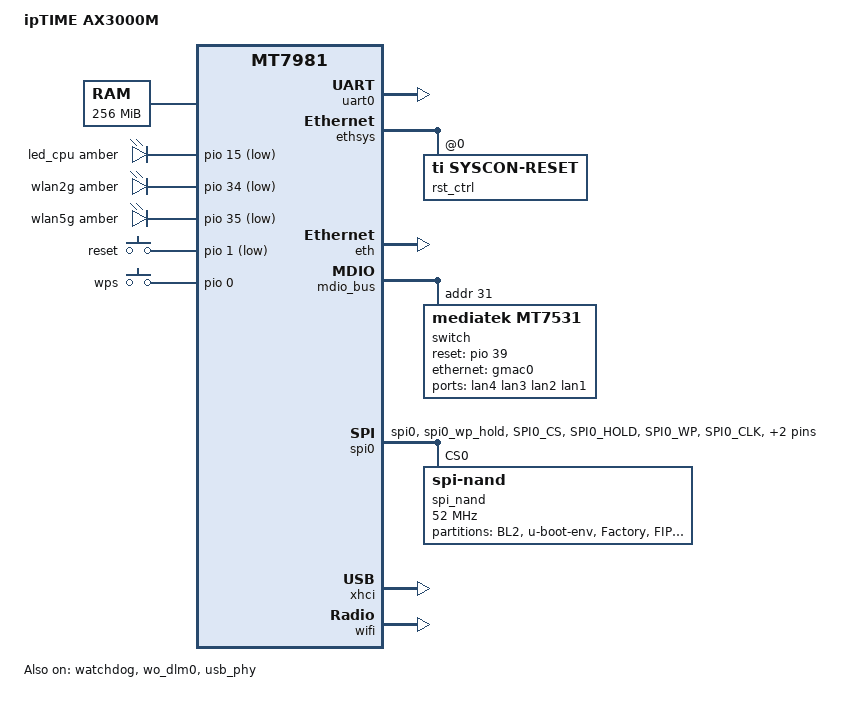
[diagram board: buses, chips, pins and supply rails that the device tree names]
// SPDX-License-Identifier: (GPL-2.0 OR MIT)

/dts-v1/;
#include <dt-bindings/gpio/gpio.h>
#include <dt-bindings/input/input.h>
#include "mt7981.dtsi"

/ {
	model = "ipTIME AX3000M";
	compatible = "iptime,ax3000m", "mediatek,mt7981-spim-snand-rfb";

	aliases {
		label-mac-device = &gmac0;
		led-boot = &led_cpu;
		led-failsafe = &led_cpu;
		led-running = &led_cpu;
		led-upgrade = &led_cpu;
		serial0 = &uart0;
	};

	chosen {
		stdout-path = "serial0:115200n8";
		bootargs-append = " ubi.mtd=ubi rootfstype=squashfs";
		bootargs-replace = "boot_from=B|ubi.block=0,rootfs2 root=/dev/ubiblock0_4";
	};

	memory {
		reg = <0x0 0x40000000 0x0 0x10000000>;
	};

	leds {
		compatible = "gpio-leds";

		led_cpu: cpu {
			function = LED_FUNCTION_CPU;
			color = <LED_COLOR_ID_AMBER>;
			gpios = <&pio 15 GPIO_ACTIVE_LOW>;
		};

		wlan2g {
			function = "LED_FUNCTION_WLAN_2GHZ";
			color = <LED_COLOR_ID_AMBER>;
			gpios = <&pio 34 GPIO_ACTIVE_LOW>;
			linux,default-trigger = "phy0tpt";
		};

		wlan5g {
			function = "LED_FUNCTION_WLAN_5GHZ";
			color = <LED_COLOR_ID_AMBER>;
			gpios = <&pio 35 GPIO_ACTIVE_LOW>;
			linux,default-trigger = "phy1tpt";
		};
	};

	keys {
		compatible = "gpio-keys";

		reset {
			label = "reset";
			gpios = <&pio 1 GPIO_ACTIVE_LOW>;
			linux,code = <KEY_RESTART>;
		};

		wps {
			label = "wps";
			gpios = <&pio 0 GPIO_ACTIVE_HIGH>;
			linux,code = <KEY_WPS_BUTTON>;
		};
	};
};

&pio {
	nand_pins: spi0-pins {
		mux {
			function = "spi";
			groups = "spi0", "spi0_wp_hold";
		};
		conf-pu {
			pins = "SPI0_CS", "SPI0_HOLD", "SPI0_WP";
			drive-strength = <MTK_DRIVE_8mA>;
			bias-pull-up = <MTK_PUPD_SET_R1R0_11>;
		};
		conf-pd {
			pins = "SPI0_CLK", "SPI0_MOSI", "SPI0_MISO";
			drive-strength = <MTK_DRIVE_8mA>;
			bias-pull-down = <MTK_PUPD_SET_R1R0_11>;
		};
	};
};

&uart0 {
	status = "okay";
};

&watchdog {
	status = "okay";
};

&ethsys {
	status = "okay";

	rst_ctrl: reset_controller@0 {
		compatible = "ti,syscon-reset";
		#reset-cells = <1>;
		ti,reset-bits = <0x34 0x04 0x34 0x04 0x34 0x04 0x28>;
	};
};

&eth {
	pinctrl-names = "default";
	pinctrl-0 = <&mdio_pins &gbe_led0_pins>;

	status = "okay";

	gmac0: mac@0 {
		compatible = "mediatek,eth-mac";
		reg = <0>;
		phy-mode = "2500base-x";

		nvmem-cells = <&macaddr_factory_4 3>;
		nvmem-cell-names = "mac-address";

		fixed-link {
			speed = <2500>;
			full-duplex;
			pause;
		};
	};

	gmac1: mac@1 {
		compatible = "mediatek,eth-mac";
		reg = <1>;
		label = "wan";
		phy-mode = "gmii";
		phy-handle = <&int_gbe_phy>;

		nvmem-cells = <&macaddr_factory_4 1>;
		nvmem-cell-names = "mac-address";
	};
};

&mdio_bus {
	switch: switch@1f {
		compatible = "mediatek,mt7531";
		reg = <31>;
		reset-gpios = <&pio 39 GPIO_ACTIVE_HIGH>;
	};
};

&switch {
	ports {
		#address-cells = <1>;
		#size-cells = <0>;

		port@0 {
			reg = <0>;
			label = "lan4";
		};

		port@1 {
			reg = <1>;
			label = "lan3";
		};

		port@2 {
			reg = <2>;
			label = "lan2";
		};

		port@3 {
			reg = <3>;
			label = "lan1";
		};

		port@6 {
			reg = <6>;
			ethernet = <&gmac0>;
			phy-mode = "2500base-x";

			fixed-link {
				speed = <2500>;
				full-duplex;
				pause;
			};
		};
	};
};

&wo_dlm0 {
	status = "okay";

	resets = <&rst_ctrl 0x0>;
	reset-names = "wocpu_rst";
};

&spi0 {
	status = "okay";

	pinctrl-names = "default";
	pinctrl-0 = <&nand_pins>;

	spi_nand: spi_nand@0 {
		#address-cells = <1>;
		#size-cells = <1>;
		compatible = "spi-nand";
		reg = <0>;

		spi-max-frequency = <52000000>;
		spi-tx-bus-width = <4>;
		spi-rx-bus-width = <4>;

		mediatek,nmbm;
		mediatek,bmt-max-ratio = <1>;
		mediatek,bmt-max-reserved-blocks = <64>;
		mediatek,bmt-remap-range = <0x000000 0x580000>;

		partitions: partitions {
			compatible = "fixed-partitions";
			#address-cells = <1>;
			#size-cells = <1>;

			partition@0 {
				label = "BL2";
				reg = <0x00 0x100000>;
				read-only;
			};

			partition@100000 {
				label = "u-boot-env";
				reg = <0x100000 0x80000>;
			};

			factory: partition@180000 {
				label = "Factory";
				reg = <0x180000 0x200000>;
				read-only;

				nvmem-layout {
					compatible = "fixed-layout";
					#address-cells = <1>;
					#size-cells = <1>;

					macaddr_factory_4: macaddr@4 {
						compatible = "mac-base";
						reg = <0x4 0x6>;
						#nvmem-cell-cells = <1>;
					};
				};
			};

			partition@380000 {
				label = "FIP";
				reg = <0x380000 0x200000>;
				read-only;
			};

			partition@580000 {
				label = "ubi";
				reg = <0x580000 0x6e00000>;
			};
		};
	};
};

&usb_phy {
	status = "okay";
};

&xhci {
	status = "okay";
};

&wifi {
	status = "okay";
	mediatek,mtd-eeprom = <&factory 0x0>;
};
